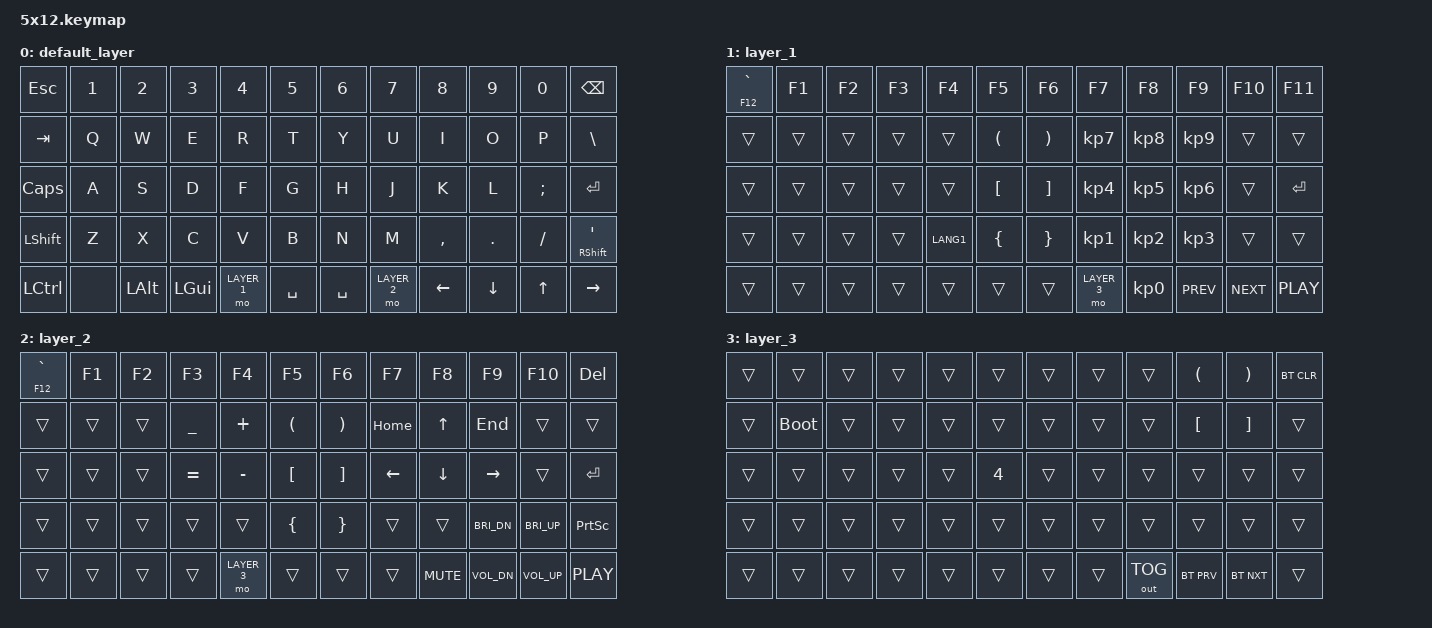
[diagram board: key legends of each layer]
/*
 * Copyright (c) 2023 HeeChan Kang
 *
 * SPDX-License-Identifier: MIT
 */

#include <behaviors.dtsi>
#include <dt-bindings/zmk/keys.h>
#include <dt-bindings/zmk/bt.h>
#include <dt-bindings/zmk/outputs.h>

#define DEFAULT 0
#define LAYER_1 1
#define LAYER_2 2
#define LAYER_3 3

/ {
    behaviors {
        hm: homerow_mods {
            compatible = "zmk,behavior-hold-tap";
            label = "HOMEROW_MODS";
            #binding-cells = <2>;
            tapping-term-ms = <250>;
            quick-tap-ms = <0>;
            flavor = "tap-preferred";
            bindings = <&kp>, <&kp>;
        };

        pht: positional_hold_tap {
            compatible = "zmk,behavior-hold-tap";
            label = "POSITIONAL_HOLD_TAP";
            #binding-cells = <2>;
            flavor = "hold-preferred";
            tapping-term-ms = <400>;
            quick-tap-ms = <200>;
            bindings = <&kp>, <&kp>;
        };
    };

    keymap {
        compatible = "zmk,keymap";
        default_layer {
            //  -------------------------------------------------------------------------------------------------
            // |  GRAV |  1   |  2   |  3   |  4    |  5     |   6     |  7     |  8   |  9    |   0   | BSPC   |
            // |  TAB  |  Q   |  W   |  E   |  R    |  T     |   Y     |  U     |  I   |  O    |   P   |  \     |
            // |  ESC  |  A   |  S   |  D   |  F    |  G     |   H     |  J     |  K   |  L    |   ;   | RET    |
            // | SHIFT |  Z   |  X   |  C   |  V    |  B     |   N     |  M     |  ,   |  .    |   /   | .      |
            // |  CTRL |      | LALT | LGUI | L_1   | SPACE  |  SPACE  |  L_2   | LEFT |  DOWN |   UP  | RIGHT  |
            bindings = <
                &kp ESC            &kp N1     &kp N2    &kp N3    &kp N4       &kp N5     &kp N6     &kp N7       &kp N8     &kp N9    &kp N0     &kp BSPC
                &kp TAB            &kp Q      &kp W     &kp E     &kp R        &kp T      &kp Y      &kp U        &kp I      &kp O     &kp P      &kp BSLH
                &kp CAPSLOCK       &kp A      &kp S     &kp D     &kp F        &kp G      &kp H      &kp J        &kp K      &kp L     &kp SEMI   &kp RET
                &kp LSHIFT         &kp Z      &kp X     &kp C     &kp V        &kp B      &kp N      &kp M        &kp COMMA  &kp DOT   &kp SLASH  &pht RSHIFT SQT 
                &kp LCTRL          &none      &kp LALT  &kp LGUI  &mo LAYER_1  &kp SPACE  &kp SPACE  &mo LAYER_2  &kp LEFT   &kp DOWN  &kp UP     &kp RIGHT
                >;
        };
        layer_1 {
            // ------------------------------------------------------------------------------------------
            // |  F12  |  F1  |  F2  |  F3  |  F4  |  F5  |  F6   |  F7  |  F8  |   F9 |  F10  |  F11  |
            // |       |      |      |      |      |  (   |   )   |  7   |   8  |  9   |       |       |
            // |       |      |      |      |      |  [   |   ]   |  4   |   5  |  6   |       | RET   |
            // |       |      |      |      | 한/영 |  {   |   }   |  1   |   2  |  3   |       |       |
            // |       |      |      |      |      |      |       | L_3  |   0  | PREV | NEXT  | PLAY  |
            bindings = <
                &hm F12 GRAVE  &kp F1   &kp F2   &kp F3   &kp F4      &kp F5     &kp F6      &kp F7       &kp F8     &kp F9      &kp F10     &kp F11
                &trans         &trans   &trans   &trans   &trans      &kp LPAR   &kp RPAR    &kp KP_N7    &kp KP_N8  &kp KP_N9   &trans      &trans
                &trans         &trans   &trans   &trans   &trans      &kp LBKT   &kp RBKT    &kp KP_N4    &kp KP_N5  &kp KP_N6   &trans      &kp RET
                &trans         &trans   &trans   &trans   &kp LANG1   &kp LBRC   &kp RBRC    &kp KP_N1    &kp KP_N2  &kp KP_N3   &trans      &trans
                &trans         &trans   &trans   &trans   &trans      &trans     &trans      &mo LAYER_3  &kp KP_N0  &kp C_PREV  &kp C_NEXT  &kp C_PLAY
                >;
        };
        layer_2 {
            // -------------------------------------------------------------------------------------------
            // |  F12  |  F1  |  F2  |  F3  |  F4  |  F5   |  F6   |  F7   |  F8  |  F9       |   F10   |   DEL   |
            // |       |      |      |  _   |  +   |   (   |   )   | HOME  |  UP  |  END      |         |         |
            // |       |      |      |  =   |  -   |   [   |   ]   | LEFT  | DOWN | RIGHT     |         | RET     |
            // |       |      |      |      |      |   {   |   }   |       |      |  BRGTDOWN |  BRGTUP | PRNTSCR |
            // |       |      |      |      | L_3  |       |       |       | MUTE |   VOL-    |   VOL+  |  PLAY   |
            bindings = <
                &hm F12 GRAVE &kp F1   &kp F2   &kp F3      &kp F4        &kp F5    &kp F6     &kp F7     &kp F8      &kp F9        &kp F10        &kp DEL
                &trans        &trans   &trans   &kp UNDER   &kp PLUS      &kp LPAR  &kp RPAR   &kp HOME   &kp UP      &kp END       &trans         &trans
                &trans        &trans   &trans   &kp EQUAL   &kp MINUS     &kp LBKT  &kp RBKT   &kp LEFT   &kp DOWN    &kp RIGHT     &trans         &kp RET
                &trans        &trans   &trans   &trans      &trans        &kp LBRC  &kp RBRC   &trans     &trans      &kp C_BRI_DN  &kp C_BRI_UP   &kp PSCRN
                &trans        &trans   &trans   &trans      &mo LAYER_3   &trans     &trans    &trans     &kp C_MUTE  &kp C_VOL_DN  &kp C_VOL_UP   &kp C_PLAY
                >;
        };
        layer_3 {
            // -----------------------------------------------------------------------------------------------
            // |      |      |      |      |      |      |      |      |         |   (    |    )   | BT_CLR |
            // |      |btldr |      |      |      |      |      |      |         |   [    |    ]   |        |
            // |      |      |      |      |      |      |      |      |         |        |        |        |
            // |      |      |      |      |      |      |      |      |         |        |        |        |
            // |      |      |      |      |      |      |      |      | OUT_TOG | BT_PRV | BT_NXT |        |
            bindings = <
                &trans &trans      &trans &trans &trans &trans &trans &trans &trans         &kp LPAR     &kp RPAR     &bt BT_CLR
                &trans &bootloader &trans &trans &trans &trans &trans &trans &trans         &kp LBKT     &kp RBKT     &trans
                &trans &trans      &trans &trans &trans &kp N4 &trans &trans &trans         &trans       &trans       &trans
                &trans &trans      &trans &trans &trans &trans &trans &trans &trans         &trans       &trans       &trans
                &trans &trans      &trans &trans &trans &trans &trans &trans &out OUT_TOG   &bt BT_PRV   &bt BT_NXT   &trans
                >;
        };
    };
};
